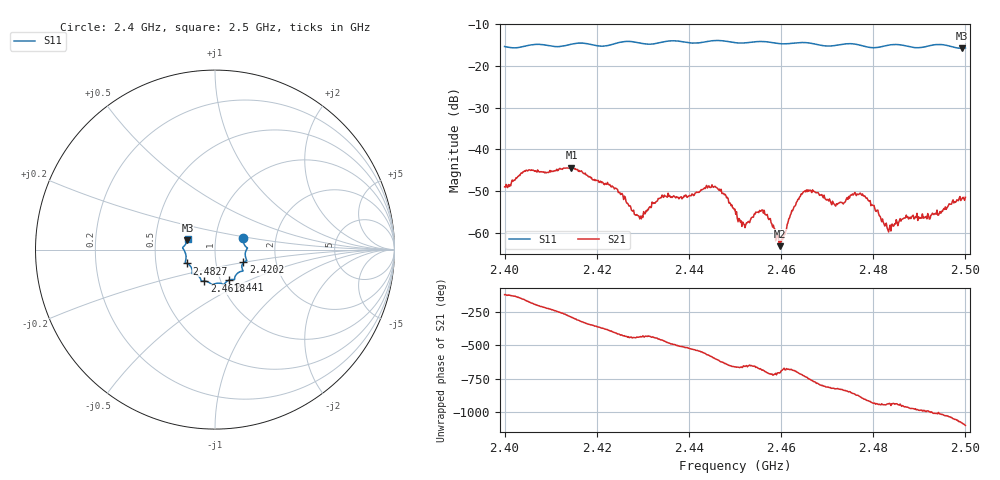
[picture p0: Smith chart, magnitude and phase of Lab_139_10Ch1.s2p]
# Hz S RI R 50
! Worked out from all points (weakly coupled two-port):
!   601 points, 2.4 GHz to 2.5 GHz, reference 50 ohm
!   highest |S21| = -44.44 dB at 2.4145 GHz (marker M1); lowest = -63.2 dB at 2.4597 GHz (marker M2)
!   lowest |S11| = -15.8 dB at 2.4993 GHz (marker M3), VSWR 1.39, Z = 36.5 + j3.84 ohm
!   |S11| at or under -10 dB: start of sweep to end of sweep
!   S12 and S22 are empty: the file has one direction only
!   S11 on the Smith chart (normalised r, x): 2.4 GHz: 1.36, +0.18; 2.4202 GHz: 1.36, -0.20; 2.441 GHz: 1.10, -0.39; 2.4618 GHz: 0.84, -0.30; 2.4827 GHz: 0.72, -0.12; 2.5 GHz: 0.73, +0.09
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2.4e9  0.1584 0.0629  -0.00199 -0.00293  0 0  0 0
2.404833e9  0.1735 0.0148  -0.00553 -0.000783  0 0  0 0
2.4145e9  0.1741 -0.0528  0.00235 0.00552  0 0  0 0
2.416667e9  0.1771 -0.0611  0.00455 0.00311  0 0  0 0
2.420167e9  0.1584 -0.0712  0.00419 -0.000239  0 0  0 0
2.4295e9  0.1414 -0.1226  0.000394 -0.00153  0 0  0 0
2.433333e9  0.1115 -0.1508  -0.000232 -0.00256  0 0  0 0
2.441e9  0.0786 -0.1697  -0.00276 -0.000352  0 0  0 0
2.4455e9  0.051 -0.1942  -0.00201 0.00295  0 0  0 0
2.45e9  0.0285 -0.1876  0.000985 0.00163  0 0  0 0
2.452e9  0.00815 -0.1879  0.000537 0.00114  0 0  0 0
2.455833e9  -0.0156 -0.1951  0.00156 0.00104  0 0  0 0
2.459667e9  -0.038 -0.1806  0.000672 0.000156  0 0  0 0
2.461833e9  -0.059 -0.1754  0.00117 0.000939  0 0  0 0
2.4645e9  -0.075 -0.175  0.00287 8.4e-05  0 0  0 0
2.466667e9  -0.0787 -0.1683  0.00226 -0.00202  0 0  0 0
2.471833e9  -0.1119 -0.1358  -0.000509 -0.00202  0 0  0 0
2.477667e9  -0.127 -0.1187  -0.00289 -0.000327  0 0  0 0
2.482667e9  -0.1559 -0.0773  -0.000907 0.000881  0 0  0 0
2.483333e9  -0.1603 -0.0752  -0.000816 0.000613  0 0  0 0
2.499333e9  -0.1539 0.0512  0.0026 2.52e-05  0 0  0 0
2.5e9  -0.152 0.0606  0.00255 -0.000759  0 0  0 0
